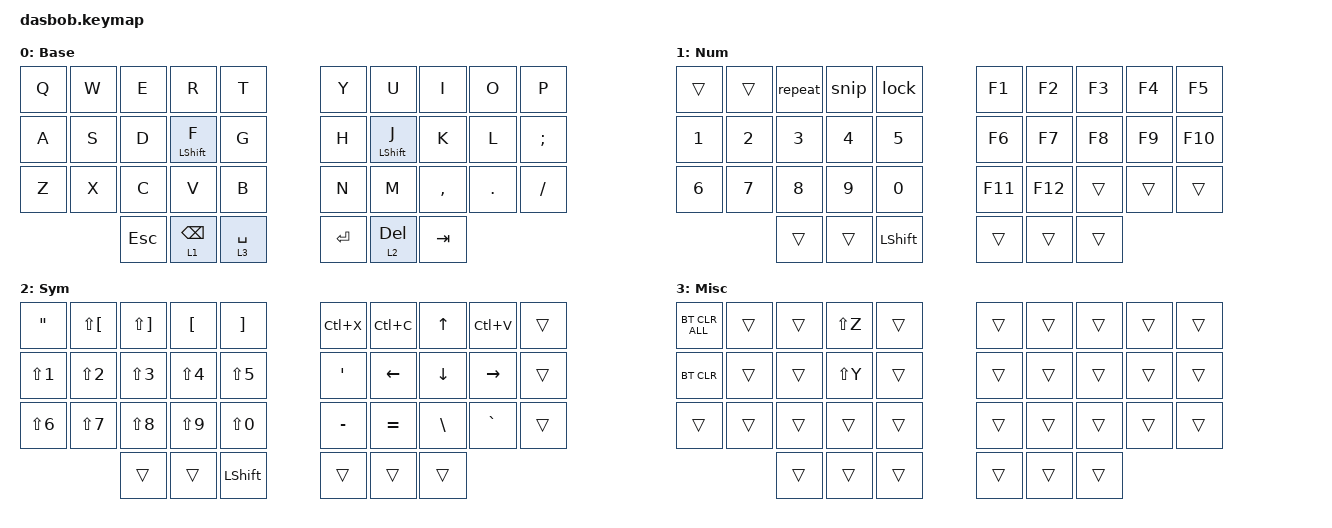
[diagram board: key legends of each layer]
#include <behaviors.dtsi>
#include <dt-bindings/zmk/bt.h>
#include <dt-bindings/zmk/keys.h>

/ {
    behaviors {
        hm: homerow_mods {
            compatible = "zmk,behavior-hold-tap";
            label = "HOMEROW_MODS";
            bindings = <&kp>, <&kp>;

            #binding-cells = <2>;
            tapping-term-ms = <200>;
            quick-tap-ms = <0>;
            flavor = "tap-preferred";
        };
    };

    macros {
        repeat: repeat {
            compatible = "zmk,behavior-macro";
            #binding-cells = <0>;
            bindings = <&kp NUMBER_2 &kp NUMBER_4 &kp NUMBER_2 &kp NUMBER_4 &kp NUMBER_2 &kp NUMBER_4>;
            label = "REPEAT";
        };

        snip: snip {
            compatible = "zmk,behavior-macro";
            #binding-cells = <0>;
            bindings = <&kp LSHFT &kp LEFT_GUI &kp S>;
            label = "SNIP";
        };

        lock: lock {
            compatible = "zmk,behavior-macro";
            #binding-cells = <0>;
            bindings = <&kp LEFT_GUI &kp L>;
            label = "LOCK";
        };
    };

    keymap {
        compatible = "zmk,keymap";

        // This is a sample keymap intended to be replaced with your own

        Base {
            bindings = <
&kp Q  &kp W  &kp E       &kp R             &kp T        &kp Y      &kp U        &kp I      &kp O    &kp P
&kp A  &kp S  &kp D       &hm LEFT_SHIFT F  &kp G        &kp H      &hm LSHFT J  &kp K      &kp L    &kp SEMI
&kp Z  &kp X  &kp C       &kp V             &kp B        &kp N      &kp M        &kp COMMA  &kp DOT  &kp SLASH
              &kp ESCAPE  &lt 1 BACKSPACE   &lt 3 SPACE  &kp ENTER  &lt 2 DEL    &kp TAB
            >;
        };

        Num {
            bindings = <
&trans        &trans        &repeat  &snip   &lock           &kp F1   &kp F2   &kp F3  &kp F4  &kp F5
&kp NUMBER_1  &kp N2        &kp N3   &kp N4  &kp N5          &kp F6   &kp F7   &kp F8  &kp F9  &kp F10
&kp NUMBER_6  &kp NUMBER_7  &kp N8   &kp N9  &kp N0          &kp F11  &kp F12  &trans  &trans  &trans
                            &trans   &trans  &kp LEFT_SHIFT  &trans   &trans   &trans
            >;
        };

        Sym {
            bindings = <
&kp DOUBLE_QUOTES  &kp LS(LEFT_BRACKET)  &kp LS(RIGHT_BRACKET)  &kp LEFT_BRACKET  &kp RIGHT_BRACKET  &kp LC(X)         &kp LC(C)  &kp UP         &kp LC(V)  &trans
&kp LS(NUMBER_1)   &kp LS(NUMBER_2)      &kp LS(NUMBER_3)       &kp LS(NUMBER_4)  &kp LS(N5)         &kp SINGLE_QUOTE  &kp LEFT   &kp DOWN       &kp RIGHT  &trans
&kp LS(NUMBER_6)   &kp LS(N7)            &kp LS(N8)             &kp LS(N9)        &kp LS(N0)         &kp MINUS         &kp EQUAL  &kp BACKSLASH  &kp GRAVE  &trans
                                         &trans                 &trans            &kp LSHFT          &trans            &trans     &trans
            >;
        };

        Misc {
            bindings = <
&bt BT_CLR_ALL  &trans  &trans  &kp LS(Z)  &trans  &trans  &trans  &trans  &trans  &trans
&bt BT_CLR      &trans  &trans  &kp LS(Y)  &trans  &trans  &trans  &trans  &trans  &trans
&trans          &trans  &trans  &trans     &trans  &trans  &trans  &trans  &trans  &trans
                        &trans  &trans     &trans  &trans  &trans  &trans
            >;
        };
    };
};
